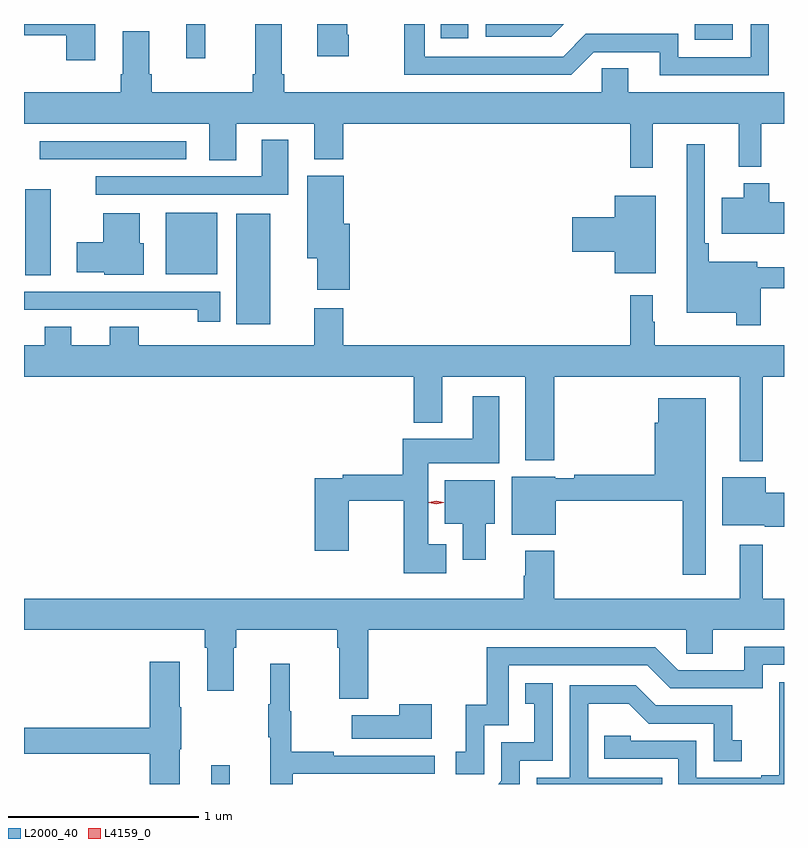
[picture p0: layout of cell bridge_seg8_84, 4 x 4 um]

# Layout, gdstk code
import gdstk
lib = gdstk.Library(unit=1e-6, precision=1e-09)
def R(c, l, rs):  # rectangles x0, y0, x1, y1
    for r in rs: c.add(gdstk.rectangle(r[:2], r[2:], *l))
def P(c, l, *ps):  # polygons
    for p in ps: c.add(gdstk.Polygon(p, *l))
L2000_40 = (2000, 40)
L4159_0 = (4159, 0)

bridge_seg8_84 = lib.new_cell('bridge_seg8_84')
R(bridge_seg8_84, L2000_40, [(685.598,1093.044,685.695,1093.144), (685.73,1095.464,685.909,1096.045), (684.62,1095.721,684.754,1096.174), (685.358,1095.728,685.63,1096.051), (684.696,1096.332,685.468,1096.428), (685.466,1096.863,685.568,1097.044), (688.144,1096.961,688.342,1097.044), (686.806,1096.968,686.952,1097.044)])
P(bridge_seg8_84, L2000_40, [(686.322,1096.987),(686.314,1096.987),(686.314,1097.044),(686.156,1097.044),(686.156,1096.875),(686.322,1096.875)],
  [(687.923,1096.52),(688.376,1096.52),(688.376,1096.292),(688.493,1096.292),(688.493,1096.52),(688.613,1096.52),(688.613,1096.684),(687.793,1096.684),(687.793,1096.811),(687.654,1096.811),(687.654,1096.684),(685.982,1096.684),(685.982,1096.78),(685.969,1096.78),(685.969,1097.044),(685.829,1097.044),(685.829,1096.78),(685.817,1096.78),(685.817,1096.684),(685.286,1096.684),(685.286,1096.78),(685.273,1096.78),(685.273,1097.005),(685.133,1097.005),(685.133,1096.78),(685.121,1096.78),(685.121,1096.684),(684.613,1096.684),(684.613,1096.52),(685.589,1096.52),(685.589,1096.327),(685.729,1096.327),(685.729,1096.52),(686.141,1096.52),(686.141,1096.331),(686.294,1096.331),(686.294,1096.52),(687.805,1096.52),(687.805,1096.287),(687.923,1096.287)],
  [(688.533,1097.044),(688.437,1097.044),(688.437,1096.869),(688.056,1096.869),(688.056,1096.992),(687.57,1096.992),(687.45,1096.872),(686.721,1096.872),(686.721,1097.044),(686.613,1097.044),(686.613,1096.776),(687.492,1096.776),(687.612,1096.896),(687.959,1096.896),(687.959,1096.773),(688.533,1096.773)],
  [(687.455,1097.044),(687.042,1097.044),(687.042,1096.977),(687.388,1096.977)],
  [(684.988,1097.044),(684.613,1097.044),(684.613,1096.986),(684.835,1096.986),(684.835,1096.854),(684.988,1096.854)],
  [(686.005,1096.435),(685.865,1096.435),(685.865,1096.242),(684.99,1096.242),(684.99,1096.146),(686.005,1096.146)],
  [(688.49,1095.654),(688.613,1095.654),(688.613,1095.763),(688.471,1095.763),(688.471,1095.793),(688.217,1095.793),(688.217,1095.889),(688.197,1095.889),(688.197,1096.411),(688.1,1096.411),(688.1,1095.524),(688.362,1095.524),(688.362,1095.459),(688.49,1095.459)],
  [(686.327,1095.993),(686.296,1095.993),(686.296,1096.246),(686.105,1096.246),(686.105,1095.812),(686.156,1095.812),(686.156,1095.645),(686.327,1095.645)],
  [(688.613,1096.107),(688.535,1096.107),(688.535,1096.207),(688.4,1096.207),(688.4,1096.129),(688.286,1096.129),(688.286,1095.941),(688.613,1095.941)],
  [(687.937,1096.141),(687.722,1096.141),(687.722,1096.028),(687.498,1096.028),(687.498,1095.845),(687.722,1095.845),(687.722,1095.731),(687.937,1095.731)],
  [(685.243,1095.891),(685.222,1095.891),(685.222,1096.048),(685.031,1096.048),(685.031,1095.895),(684.891,1095.895),(684.891,1095.737),(685.035,1095.737),(685.035,1095.725),(685.243,1095.725)],
  [(685.645,1095.636),(684.613,1095.636),(684.613,1095.54),(685.3,1095.54),(685.3,1095.539),(685.528,1095.539),(685.528,1095.477),(685.645,1095.477)],
  [(688.501,1095.188),(688.613,1095.188),(688.613,1095.352),(687.934,1095.352),(687.934,1095.476),(687.922,1095.476),(687.922,1095.616),(687.805,1095.616),(687.805,1095.352),(686.294,1095.352),(686.294,1095.547),(686.141,1095.547),(686.141,1095.352),(685.217,1095.352),(685.217,1095.451),(685.064,1095.451),(685.064,1095.352),(684.862,1095.352),(684.862,1095.451),(684.722,1095.451),(684.722,1095.352),(684.613,1095.352),(684.613,1095.188),(686.663,1095.188),(686.663,1094.945),(686.815,1094.945),(686.815,1095.188),(687.251,1095.188),(687.251,1094.747),(687.404,1094.747),(687.404,1095.188),(688.379,1095.188),(688.379,1094.744),(688.501,1094.744)],
  [(686.836,1094.305),(686.74,1094.305),(686.74,1094.732),(687.115,1094.732),(687.115,1095.085),(686.975,1095.085),(686.975,1094.86),(686.606,1094.86),(686.606,1094.672),(686.29,1094.672),(686.29,1094.652),(686.144,1094.652),(686.144,1094.271),(686.322,1094.271),(686.322,1094.536),(686.611,1094.536),(686.611,1094.153),(686.836,1094.153)],
  [(688.201,1095.073),(687.95,1095.073),(687.95,1094.946),(687.932,1094.946),(687.932,1094.672),(687.508,1094.672),(687.508,1094.652),(687.408,1094.652),(687.408,1094.662),(687.179,1094.662),(687.179,1094.357),(687.412,1094.357),(687.412,1094.536),(688.08,1094.536),(688.08,1094.145),(688.201,1094.145)],
  [(688.613,1094.576),(688.516,1094.576),(688.516,1094.659),(688.289,1094.659),(688.289,1094.405),(688.512,1094.405),(688.512,1094.398),(688.613,1094.398)],
  [(687.043,1094.414),(687.091,1094.414),(687.091,1094.644),(686.828,1094.644),(686.828,1094.414),(686.921,1094.414),(686.921,1094.223),(687.043,1094.223)],
  [(686.426,1093.856),(688.098,1093.856),(688.098,1093.729),(688.237,1093.729),(688.237,1093.856),(688.613,1093.856),(688.613,1094.02),(688.501,1094.02),(688.501,1094.302),(688.379,1094.302),(688.379,1094.02),(687.404,1094.02),(687.404,1094.272),(687.251,1094.272),(687.251,1094.141),(687.244,1094.141),(687.244,1094.02),(684.613,1094.02),(684.613,1093.856),(685.565,1093.856),(685.565,1093.76),(685.577,1093.76),(685.577,1093.536),(685.717,1093.536),(685.717,1093.76),(685.73,1093.76),(685.73,1093.856),(686.261,1093.856),(686.261,1093.76),(686.273,1093.76),(686.273,1093.494),(686.426,1093.494)],
  [(687.036,1093.353),(687.165,1093.353),(687.165,1093.668),(687.894,1093.668),(688.014,1093.548),(688.5,1093.548),(688.5,1093.671),(688.613,1093.671),(688.613,1093.767),(688.403,1093.767),(688.403,1093.644),(688.056,1093.644),(687.936,1093.764),(687.049,1093.764),(687.049,1093.462),(686.939,1093.462),(686.939,1093.215),(686.886,1093.215),(686.886,1093.095),(687.036,1093.095)],
  [(685.432,1093.227),(685.44,1093.227),(685.44,1093.448),(685.432,1093.448),(685.432,1093.687),(685.274,1093.687),(685.274,1093.34),(684.613,1093.34),(684.613,1093.204),(685.274,1093.204),(685.274,1093.044),(685.432,1093.044)],
  [(686.027,1093.098),(686.776,1093.098),(686.776,1093.194),(686.243,1093.194),(686.243,1093.214),(686.02,1093.214),(686.02,1093.428),(686.012,1093.428),(686.012,1093.678),(685.91,1093.678),(685.91,1093.465),(685.899,1093.465),(685.899,1093.291),(685.91,1093.291),(685.91,1093.044),(686.027,1093.044)],
  [(688.613,1093.579),(688.588,1093.579),(688.588,1093.373),(688.589,1093.373),(688.589,1093.09),(688.493,1093.09),(688.493,1093.077),(688.152,1093.077),(688.152,1093.272),(687.807,1093.272),(687.807,1093.299),(687.667,1093.299),(687.667,1093.176),(688.056,1093.176),(688.056,1093.044),(688.613,1093.044)],
  [(687.222,1093.167),(687.396,1093.167),(687.396,1093.573),(687.25,1093.573),(687.25,1093.467),(687.299,1093.467),(687.299,1093.263),(687.126,1093.263),(687.126,1093.062),(687.108,1093.044),(687.222,1093.044)],
  [(687.971,1093.077),(687.582,1093.077),(687.582,1093.466),(687.796,1093.466),(687.9,1093.362),(688.242,1093.362),(688.242,1093.164),(688.39,1093.164),(688.39,1093.273),(688.341,1093.273),(688.341,1093.458),(687.937,1093.458),(687.832,1093.563),(687.486,1093.563),(687.486,1093.077),(687.312,1093.077),(687.312,1093.044),(687.971,1093.044)],
  [(686.758,1093.465),(686.588,1093.465),(686.588,1093.405),(686.339,1093.405),(686.339,1093.283),(686.758,1093.283)])
P(bridge_seg8_84, L4159_0, [(686.783,1094.516),(686.743,1094.525),(686.742,1094.526),(686.743,1094.526),(686.783,1094.536),(686.823,1094.526),(686.823,1094.526),(686.823,1094.525)])

lib.write_gds('bridge_seg8_84.gds')
